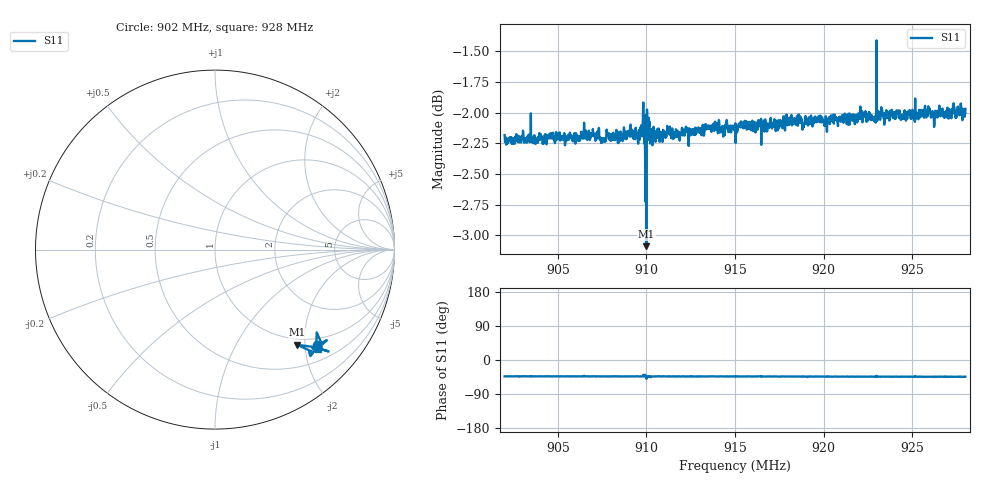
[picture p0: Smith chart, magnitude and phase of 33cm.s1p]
! Calibrated averaged scanner-service zoom
# Hz S RI R 50
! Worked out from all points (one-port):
!   2001 points, 902 MHz to 928 MHz, reference 50 ohm
!   lowest |S11| = -3.1 dB at 910 MHz (marker M1), VSWR 5.69, Z = 44.3 - j92.3 ohm
!   |S11| at or under -10 dB: nowhere
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9.02e8  0.567 -0.5326
9.0525e8  0.5646 -0.5309
9.06108e8  0.5682 -0.5289
9.06602e8  0.5668 -0.5344
9.07551e8  0.5639 -0.5312
9.085e8  0.5593 -0.5343
9.09501e8  0.5668 -0.529
9.09683e8  0.5688 -0.5375
9.09709e8  0.5718 -0.538
9.09852e8  0.5718 -0.531
9.09865e8  0.5678 -0.5287
9.09904e8  0.5587 -0.5318
9.09995e8  0.4582 -0.5303
9.10073e8  0.5653 -0.5382
9.10112e8  0.5635 -0.5344
9.10177e8  0.5718 -0.5343
9.1045e8  0.5655 -0.5299
9.1175e8  0.5674 -0.5319
9.13817e8  0.5725 -0.5337
9.15e8  0.5673 -0.5388
9.1825e8  0.5714 -0.5426
9.215e8  0.5684 -0.5483
9.22839e8  0.5652 -0.5503
9.23034e8  0.5681 -0.5487
9.2475e8  0.5718 -0.5527
9.26297e8  0.5719 -0.5529
9.2657e8  0.5693 -0.5506
9.28e8  0.5731 -0.5542
